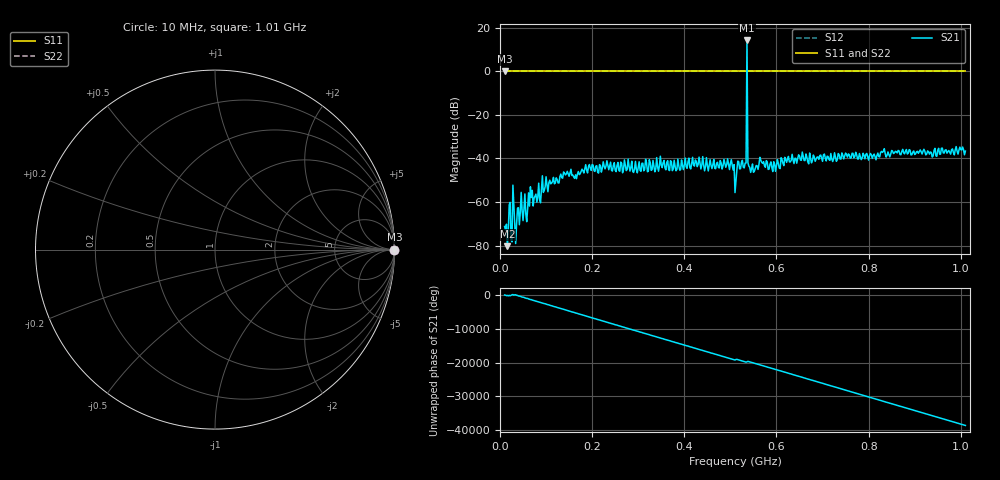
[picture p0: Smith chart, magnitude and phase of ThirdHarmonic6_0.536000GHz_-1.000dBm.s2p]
! 8/15/2025 4:46:26 PM
! C:\ANRITSUVNA\TEMP\TEMP.S2P
! CHANNEL.1
! TR.MEASUREMENT
! RAW.DATA
! RF.CORRECTION.OFF
! AVERAGING.OFF
! IF.BANDWIDTH: 5KHZ
! SWEEPTYPE:  FREQ.SWEEP(Linear)
! Reference Plane Port Info
! PORT:  PORT1  PORT2
! DISTANCE:  0  m  0  m
! TIME:  0  s  0  s
! PHASE.OFFSET:  0  deg.  0  deg.
! LOSS:  0  dB  0  dB
! REF.LOSS:  0  dB  0  dB
! REF.FREQ:  0  Hz  0  Hz
! Power Info
! POWER:  -20  dBm  -20  dBm
! EFF.POWER:  -20  dBm  -20  dBm
! SOURCE.ATTEN:  0  dB  0  dB
! TEST.ATTEN:  0  dB  0  dB
# GHZ S RI R 50.0
! FREQ.GHZ  S11RE  S11IM  S21RE  S21IM  S12RE  S12IM  S22RE  S22IM
!; PortSelection: Port_12
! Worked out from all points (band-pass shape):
!   501 points, 10 MHz to 1.01 GHz, reference 50 ohm
!   highest |S21| = 14.07 dB at 536 MHz (marker M1); lowest = -80.2 dB at 16 MHz (marker M2)
!   |S21| within 3 dB of the highest: 535.8932 MHz to 536.1072 MHz (214.1 kHz wide, 0.0399 % of centre)
!   lowest |S11| = 0.0 dB at 10 MHz (marker M3)
!   |S11| at or under -10 dB: nowhere
!   |S22| runs from 0.0 to 0.0 dB; largest |S21 - S12| = 4.1
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0.01  1 0  3.23e-05 -0.000273  1 0  1 0
0.016  1 0  -9.05e-05 3.55e-05  1 0  1 0
0.022  1 0  0.000562 0.000803  1 0  1 0
0.024  1 0  -0.000129 -4.03e-05  1 0  1 0
0.038  1 0  -0.000711 0.000135  1 0  1 0
0.042  1 0  0.000192 -0.000232  1 0  1 0
0.06  1 0  0.000689 -0.00012  1 0  1 0
0.066  1 0  0.00205 0.000875  1 0  1 0
0.076  1 0  0.00133 0.000352  1 0  1 0
0.096  1 0  4.87e-05 -0.00183  1 0  1 0
0.178  1 0  -0.00542 -0.00162  1 0  1 0
0.344  1 0  0.00508 -0.000199  1 0  1 0
0.498  1 0  0.00323 -0.0045  1 0  1 0
0.51  1 0  -0.00162 -0.00026  1 0  1 0
0.53  1 0  -0.00183 0.00577  1 0  1 0
0.532  1 0  0.00703 0.00327  1 0  1 0
0.536  1 0  4.929 1.106  1 0  1 0
0.54  1 0  0.00236 0.00623  1 0  1 0
0.542  1 0  0.00563 -0.00268  1 0  1 0
0.678  1 0  0.00575 -0.00679  1 0  1 0
0.844  1 0  -0.00548 0.0109  1 0  1 0
1.01  1 0  0.0098 -0.011  1 0  1 0
